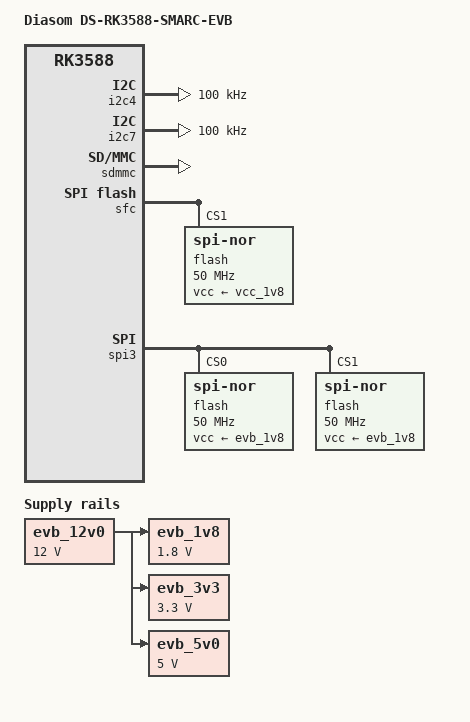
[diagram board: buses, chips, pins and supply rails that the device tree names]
/* SPDX-License-Identifier: GPL-2.0+ */
/* SPDX-FileCopyrightText: Alexander Shiyan <shc_work@mail.ru> */

/dts-v1/;

#include "rk3588-diasom-smarc.dtsi"

/ {
	model = "Diasom DS-RK3588-SMARC-EVB";
	compatible = "diasom,ds-rk3588-smarc-evb",
		     "diasom,ds-rk3588-smarc",
		     "rockchip,rk3588";

	aliases {
		mmc1 = &sdmmc;
	};

	chosen {
		environment-sd {
			compatible = "barebox,environment";
			device-path = &sdmmc, "partname:env";
			status = "disabled";
		};
	};

	evb_1v8: evb-1v8-regulator {
		compatible = "regulator-fixed";
		regulator-name = "1v8";
		regulator-always-on;
		regulator-boot-on;
		regulator-min-microvolt = <1800000>;
		regulator-max-microvolt = <1800000>;
		vin-supply = <&evb_12v0>;
	};

	evb_3v3: evb-3v3-regulator {
		compatible = "regulator-fixed";
		regulator-name = "3v3";
		regulator-always-on;
		regulator-boot-on;
		regulator-min-microvolt = <3300000>;
		regulator-max-microvolt = <3300000>;
		vin-supply = <&evb_12v0>;
	};

	evb_5v0: evb-5v0-regulator {
		compatible = "regulator-fixed";
		regulator-name = "5v0";
		regulator-always-on;
		regulator-boot-on;
		regulator-min-microvolt = <5000000>;
		regulator-max-microvolt = <5000000>;
		vin-supply = <&evb_12v0>;
	};

	evb_12v0: evb-12v0-regulator {
		compatible = "regulator-fixed";
		regulator-name = "12v0";
		regulator-always-on;
		regulator-boot-on;
		regulator-min-microvolt = <12000000>;
		regulator-max-microvolt = <12000000>;
	};
};

&i2c4 {
	/* MDIO */
	clock-frequency = <100000>;
	status = "okay";

	//TODO: 53
};

&i2c5 {
	/* I2C_GP */

	//TODO: 11
};

&i2c7 {
	/* I2C_PM */
	clock-frequency = <100000>;
	status = "okay";

	//TODO: 53
};

&sdmmc {
	//FIXME: vmmc-supply (vcc_sdmmc0) is not used with EVB rev 1
	status = "okay";
};

&sfc {
	/* SPI1 */

	flash@1 {
		compatible = "jedec,spi-nor";
		reg = <1>;
		spi-max-frequency = <50000000>;
		m25p,fast-read;
		spi-rx-bus-width = <4>;
		spi-tx-bus-width = <1>;
		vcc-supply = <&vcc_1v8>;
	};
};

&spi3 {
	/* SPI0 */
	status = "okay";

	flash@0 {
		compatible = "jedec,spi-nor";
		reg = <0>;
		spi-max-frequency = <50000000>;
		m25p,fast-read;
		vcc-supply = <&evb_1v8>;
	};

	flash@1 {
		compatible = "jedec,spi-nor";
		reg = <1>;
		spi-max-frequency = <50000000>;
		m25p,fast-read;
		vcc-supply = <&evb_1v8>;
	};
};

&uart1 {
	/* SER3 */
//	status = "okay";
};

&uart2 {
	/* SER1 */
};

&uart6 {
	/* SER0 */
//	status = "okay";
};

&uart9 {
	/* SER2 */
//	status = "okay";
};

&vdd_in {
	vin-supply = <&evb_12v0>;
};
